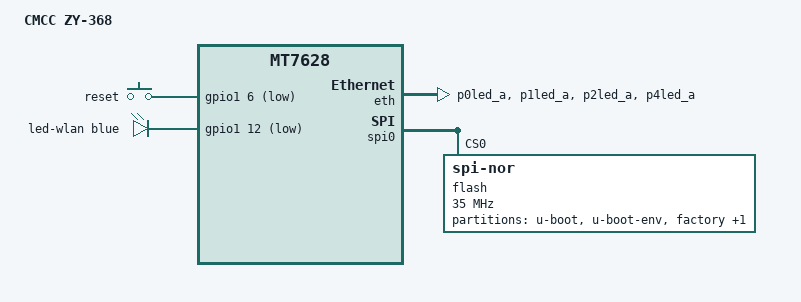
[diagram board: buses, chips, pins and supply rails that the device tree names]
// SPDX-License-Identifier: GPL-2.0-or-later

/dts-v1/;

#include "mt7628a.dtsi"

#include <dt-bindings/gpio/gpio.h>
#include <dt-bindings/input/input.h>
#include <dt-bindings/leds/common.h>

/ {
	compatible = "cmcc,zy-368", "mediatek,mt7628-soc";
	model = "CMCC ZY-368";

	/delete-node/ clock-48m;
	/delete-node/ watchdog@10000100;
	/delete-node/ serial@10000d00;
	/delete-node/ serial@10000e00;
	/delete-node/ usb-phy@10120000;
	/delete-node/ ehci@101c0000;
	/delete-node/ mmc@10130000;

	aliases {
		serial0 = &uart0;
		spi0 = &spi0;
	};

	chosen {
		stdout-path = "serial0:115200n8";
	};

	gpio-keys {
		compatible = "gpio-keys";

		button-reset {
			label = "reset";
			linux,code = <KEY_RESTART>;
			gpios = <&gpio1 6 GPIO_ACTIVE_LOW>;
		};
	};

	gpio-leds {
		compatible = "gpio-leds";

		led-wlan {
			color = <LED_COLOR_ID_BLUE>;
			function = LED_FUNCTION_WLAN;
			gpios = <&gpio1 12 GPIO_ACTIVE_LOW>;
			default-state = "on";
		};
	};

	options {
		u-boot {
			compatible = "u-boot,config";
			boot-btn1 = "reset";
			boot-led1 = "blue:wlan";
			bootcmd_1-1 = "tftp_boot_ik";
			bootcmd_1-2 = "tftp_update_fw";
			bootcmd_1-3 = "switch_console";
			bootcmd_1-4 = "env init";
		};
	};
};

&eth {
	mediatek,wan-port = <4>;

	pinctrl-names = "default";
	pinctrl-0 = <&ephy_router_mode>, <&ephy_leds>;
};

&pinctrl {
	pinctrl-0 = <&state_default>, <&fem_pins>;

	/delete-node/ spi_dual_pins;
	/delete-node/ uart1_pins;
	/delete-node/ uart2_pins;
	/delete-node/ uart2_pwm_pins;
	/delete-node/ i2c_pins;
	/delete-node/ ephy_iot_mode;
	/delete-node/ sd_iot_mode;
	/delete-node/ sd_router_mode;
	/delete-node/ emmc_iot_8bit_mode;

	ephy_leds: ephy_leds {
		groups = "p0led_a", "p1led_a", "p2led_a", "p4led_a";
		function = "led";
	};

	/* PA/LNA: GPIO#2 GPIO#13 */
	fem_pins: fem_pins {
		lna {
			groups = "uart1";
			function = "sw_r";
		};

		pa {
			groups = "i2s";
			function = "antenna";
		};
	};
};

&spi0 {
	flash@0 {
		compatible = "jedec,spi-nor";
		reg = <0>;
		spi-max-frequency = <35000000>;

		partitions {
			compatible = "fixed-partitions";
			#address-cells = <1>;
			#size-cells = <1>;

			partition@0 {
				label = "u-boot";
				reg = <0x00000 0x30000>;
			};

			partition@30000 {
				label = "u-boot-env";
				reg = <0x30000 0x10000>;
			};

			partition@40000 {
				label = "factory";
				reg = <0x40000 0x10000>;
			};

			partition@50000 {
				label = "firmware";
				reg = <0x50000 0x00000>;
			};
		};
	};
};

&state_default {
	gpios {
		groups = "gpio0", "spis", "spi cs1", "sdmode", "wdt", "perst", \
			 "refclk", "i2c", "uart2", "pwm0", "pwm1", "wled_a", "p3led_a";
		function = "gpio";
	};
};
